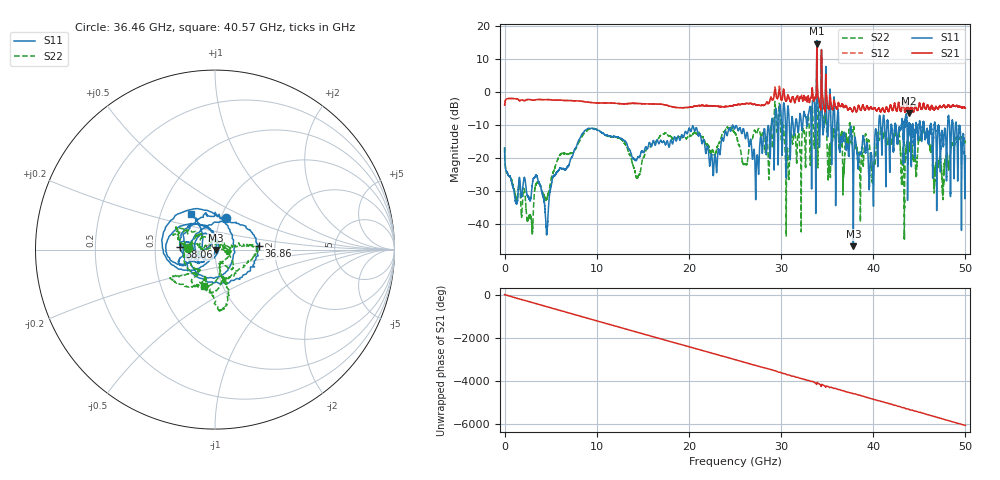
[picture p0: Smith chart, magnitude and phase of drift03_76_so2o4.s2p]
!Created with skrf (http://scikit-rf.org).
# Hz S RI R 50.0
!freq ReS11 ImS11 ReS21 ImS21 ReS12 ImS12 ReS22 ImS22
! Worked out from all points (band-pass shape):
!   10001 points, 300 kHz to 50 GHz, reference 50 ohm
!   highest |S21| = 14.64 dB at 33.88 GHz (marker M1); lowest = -6.4 dB at 43.9 GHz (marker M2)
!   |S21| within 3 dB of the highest: 33.86923 GHz to 33.88788 GHz (18.65 MHz wide, 0.055 % of centre); 34.37755 GHz to 34.38803 GHz (10.48 MHz wide, 0.0305 % of centre)
!   lowest |S11| = -46.8 dB at 37.84 GHz (marker M3), VSWR 1.01, Z = 50.4 - j0.28 ohm
!   |S11| at or under -10 dB: start of sweep to 28.94 GHz; 36.27 GHz to 40.6 GHz (4.333 GHz wide, 11.3 % of centre); 46.74 GHz to 48.08 GHz (1.337 GHz wide, 2.82 % of centre) (the widest 3 of 57)
!   |S22| runs from -44.6 to 11.3 dB; largest |S21 - S12| = 0.81
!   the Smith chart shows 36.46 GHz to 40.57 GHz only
!   S11 on the Smith chart (normalised r, x): 36.46 GHz: 1.05, +0.38; 36.86 GHz: 1.64, +0.08; 38.06 GHz: 0.67, +0.02; 40.57 GHz: 0.71, +0.30
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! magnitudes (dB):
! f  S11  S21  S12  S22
! 300 kHz  -17.1  -4.0  -4.0  -16.7
! 2.82 GHz  -32.7  -2.4  -2.4  -37.8
! 4.555 GHz  -43.4  -2.3  -2.3  -32.4
! 8.335 GHz  -13.1  -2.8  -2.8  -13.9
! 14.45 GHz  -19.9  -3.5  -3.5  -25.8
! 16.67 GHz  -15.4  -3.7  -3.7  -14.3
! 22.82 GHz  -19.3  -4.3  -4.3  -19.2
! 25 GHz  -10.9  -4.0  -4.0  -12.5
! 26.09 GHz  -13.7  -3.7  -3.6  -21.9
! 27.39 GHz  -19.4  -4.1  -4.0  -12.4
! 29.6 GHz  -10.5  -2.0  -2.1  -11.7
! 30.7 GHz  -5.5  -1.3  -1.4  -17.0
! 33.34 GHz  -13.8  -0.4  -0.5  -7.0
! 33.88 GHz  15.6  14.6  14.3  11.2
! 36.46 GHz  -14.7  -4.4  -4.4  -16.4
! 36.86 GHz  -12.2  -4.7  -4.7  -23.5
! 37.84 GHz  -46.8  -5.4  -5.4  -10.9
! 38.06 GHz  -14.2  -5.4  -5.3  -16.8
! 40.57 GHz  -12.4  -4.9  -5.0  -13.5
! 41.67 GHz  -12.1  -5.9  -5.9  -15.1
! 43.9 GHz  -9.3  -6.4  -6.3  -17.0
! 50 GHz  -19.3  -4.9  -4.9  -15.1
